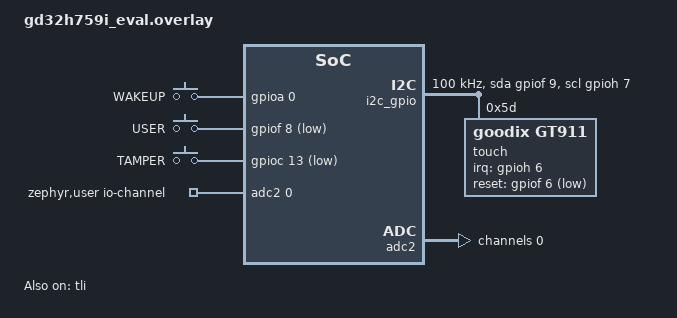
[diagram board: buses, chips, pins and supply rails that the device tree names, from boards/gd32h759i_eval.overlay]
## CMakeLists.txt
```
# Copyright (c) 2026 GigaDevice Semiconductor Inc.
# SPDX-License-Identifier: Apache-2.0

cmake_minimum_required(VERSION 3.20.0)
find_package(Zephyr REQUIRED HINTS $ENV{ZEPHYR_BASE})
project(gd32h759_hmi)

target_sources(app PRIVATE src/main.c)
```

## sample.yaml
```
sample:
  name: GD32H759 HMI
tests:
  sample.display.gd32h759_hmi:
    platform_allow: gd32h759i_eval
    harness: none
    tags:
      - display
      - lvgl
```

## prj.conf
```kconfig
# Copyright (c) 2026 GigaDevice Semiconductor Inc.
# SPDX-License-Identifier: Apache-2.0

CONFIG_GPIO=y
CONFIG_PRINTK=y
CONFIG_ADC=y
CONFIG_EEPROM=y
CONFIG_DISPLAY=y
CONFIG_GD32_TLI_RGB565=y
CONFIG_INPUT=y
CONFIG_INPUT_GPIO_KEYS=n
CONFIG_I2C=y
CONFIG_INPUT_MODE_SYNCHRONOUS=y
CONFIG_LVGL=y
CONFIG_LV_FONT_DEFAULT_MONTSERRAT_14=y
CONFIG_LV_Z_POINTER_INPUT=y
CONFIG_LV_Z_POINTER_INPUT_MSGQ_COUNT=64
CONFIG_LV_Z_MEM_POOL_SIZE=32768
CONFIG_LV_Z_VDB_SIZE=18
CONFIG_MAIN_STACK_SIZE=8192
```

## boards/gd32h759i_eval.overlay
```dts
/*
 * Copyright (c) 2026 GigaDevice Semiconductor Inc.
 *
 * SPDX-License-Identifier: Apache-2.0
 *
 * JP41, JP43-JP59 and JP67 must be set to 1-2 (TLI function), JP42 must be
 * set to 2-3 (USER key).
 */

#include <zephyr/dt-bindings/adc/adc.h>
#include <zephyr/dt-bindings/i2c/i2c.h>

/ {
	chosen {
		zephyr,display = &tli;
	};

	i2c_gpio: i2c-gpio {
		compatible = "gpio-i2c";
		#address-cells = <1>;
		#size-cells = <0>;
		clock-frequency = <I2C_BITRATE_STANDARD>;
		scl-gpios = <&gpioh 7 (GPIO_ACTIVE_HIGH | GPIO_OPEN_DRAIN)>;
		sda-gpios = <&gpiof 9 (GPIO_ACTIVE_HIGH | GPIO_OPEN_DRAIN)>;
		status = "okay";

		touch: gt911@5d {
			compatible = "goodix,gt911";
			reg = <0x5d>;
			irq-gpios = <&gpioh 6 GPIO_ACTIVE_HIGH>;
			reset-gpios = <&gpiof 6 GPIO_ACTIVE_LOW>;
			status = "okay";
		};
	};

	lvgl_pointer {
		compatible = "zephyr,lvgl-pointer-input";
		input = <&touch>;
		display = <&tli>;
	};

	gpio_keys {
		compatible = "gpio-keys";

		/* WAKEUP has an external pull-down */
		key_a: key_a {
			label = "WAKEUP";
			gpios = <&gpioa 0 GPIO_ACTIVE_HIGH>;
		};

		key_b: key_b {
			label = "USER";
			gpios = <&gpiof 8 (GPIO_ACTIVE_LOW | GPIO_PULL_UP)>;
		};

		key_c: key_c {
			label = "TAMPER";
			gpios = <&gpioc 13 (GPIO_ACTIVE_LOW | GPIO_PULL_UP)>;
		};
	};

	zephyr,user {
		/* VR1 potentiometer on PC2_C (ADC2_IN0) */
		io-channels = <&adc2 0>;
	};
};

&pinctrl {
	tli_default: tli_default {
		group1 {
			pinmux = <TLI_R0_PH2>, <TLI_R1_PH3>, <TLI_R2_PH8>,
				 <TLI_R3_PH9>, <TLI_R4_PA5>, <TLI_R5_PH11>,
				 <TLI_R6_PH12>, <TLI_R7_PG6>, <TLI_G0_PB1>,
				 <TLI_G1_PB0>, <TLI_G2_PH13>, <TLI_G3_PH14>,
				 <TLI_G4_PH15>, <TLI_G5_PC1>, <TLI_G6_PC7>,
				 <TLI_G7_PD3>, <TLI_B0_PG14>, <TLI_B1_PG12>,
				 <TLI_B2_PG10>, <TLI_B3_PG11>, <TLI_B4_PC11>,
				 <TLI_B5_PB5>, <TLI_B6_PB8>, <TLI_B7_PB9>,
				 <TLI_PIXCLK_PG7>, <TLI_HSYNC_PE15>, <TLI_VSYNC_PA7>,
				 <TLI_DE_PF10>;
			slew-rate = "max-speed-50mhz";
		};
	};
};

&tli {
	status = "okay";

	pinctrl-0 = <&tli_default>;
	pinctrl-names = "default";

	bl-ctrl-gpios = <&gpiog 13 GPIO_ACTIVE_HIGH>;

	hsync = <41>;
	vsync = <10>;
	hbp = <2>;
	vbp = <2>;
	hfp = <2>;
	vfp = <2>;
	width = <480>;
	height = <272>;
};

/* PC2_C is a dedicated analog pin, no pinmux is needed */
&adc2 {
	channel@0 {
		reg = <0>;
		zephyr,gain = "ADC_GAIN_1";
		zephyr,reference = "ADC_REF_INTERNAL";
		zephyr,acquisition-time = <ADC_ACQ_TIME(ADC_ACQ_TIME_TICKS, 5)>;
		zephyr,resolution = <12>;
		zephyr,vref-mv = <3300>;
	};
};

/* PA5/PA7 are TLI_R4/TLI_VSYNC */
&spi0 {
	status = "disabled";
};

/* PB5 is TLI_B5 */
&spi2 {
	status = "disabled";
};

/* PH6/PH7/PF9 are used by the touch panel, PH8/PH9 are TLI_R2/TLI_R3 */
&spi4 {
	status = "disabled";
};

/* PA5/PA7 are TLI_R4/TLI_VSYNC, PA0 (CS) is the WAKEUP key */
&spi5 {
	status = "disabled";
};

/* PA7/PB0 are TLI_VSYNC/TLI_G1 */
&pwm0 {
	status = "disabled";
};

/* PB5 is TLI_B5 */
&can1 {
	status = "disabled";
};

/* PF6 is the touch panel reset */
&can2 {
	status = "disabled";
};
```

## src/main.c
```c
/*
 * Copyright (c) 2026 GigaDevice Semiconductor Inc.
 *
 * SPDX-License-Identifier: Apache-2.0
 */

#include <zephyr/device.h>
#include <zephyr/drivers/adc.h>
#include <zephyr/drivers/display.h>
#include <zephyr/drivers/eeprom.h>
#include <zephyr/drivers/gpio.h>
#include <zephyr/kernel.h>
#include <zephyr/sys/printk.h>
#include <lvgl.h>
#include <stdio.h>

#define SCREEN_WIDTH     480
#define SCREEN_HEIGHT    272
#define ADC_REFERENCE_MV 3300

/* LED1 (PF10) is the TLI DE signal, only LED2 (PA6) is available */
static const struct gpio_dt_spec leds[] = {
	GPIO_DT_SPEC_GET(DT_NODELABEL(led1), gpios),
};

static const struct gpio_dt_spec keys[] = {
	GPIO_DT_SPEC_GET(DT_NODELABEL(key_a), gpios),
	GPIO_DT_SPEC_GET(DT_NODELABEL(key_b), gpios),
	GPIO_DT_SPEC_GET(DT_NODELABEL(key_c), gpios),
};

static const char *const key_names[] = {"WAKEUP", "USER", "TAMPER"};
static const struct adc_dt_spec potentiometer = ADC_DT_SPEC_GET_BY_IDX(DT_PATH(zephyr_user), 0);
static const struct device *const eeprom = DEVICE_DT_GET(DT_ALIAS(eeprom_0));
static lv_obj_t *led_indicators[ARRAY_SIZE(leds)];
static lv_obj_t *key_labels[ARRAY_SIZE(keys)];
static lv_obj_t *voltage_label;
static lv_obj_t *voltage_bar;
static lv_obj_t *raw_label;
static lv_obj_t *address_label;
static lv_obj_t *value_label;
static lv_obj_t *eeprom_status;
static lv_obj_t *eeprom_dump;
static uint8_t address;
static uint8_t value;
static bool key_state[ARRAY_SIZE(keys)];
static uint8_t key_samples[ARRAY_SIZE(keys)];
static bool led_on;

static lv_obj_t *make_label(lv_obj_t *parent, const char *text, int x, int y)
{
	lv_obj_t *label = lv_label_create(parent);

	lv_label_set_text(label, text);
	lv_obj_set_pos(label, x, y);
	return label;
}

enum eeprom_action {
	ADDR_DOWN,
	ADDR_UP,
	VALUE_DOWN,
	VALUE_UP,
	PROBE,
	READ_BYTE,
	WRITE_BYTE,
	READ_EIGHT,
};

static void eeprom_action_cb(lv_event_t *event)
{
	enum eeprom_action action = (enum eeprom_action)(uintptr_t)lv_event_get_user_data(event);
	uint8_t data[8];
	char text[32];
	int ret = 0;

	switch (action) {
	case ADDR_DOWN:
		address--;
		break;
	case ADDR_UP:
		address++;
		break;
	case VALUE_DOWN:
		value--;
		break;
	case VALUE_UP:
		value++;
		break;
	case PROBE:
	case READ_BYTE:
		ret = device_is_ready(eeprom) ? eeprom_read(eeprom, address, data, 1) : -ENODEV;
		if (ret == 0 && action == READ_BYTE) {
			lv_label_set_text_fmt(eeprom_dump, "Read: 0x%02X", data[0]);
		}
		break;
	case WRITE_BYTE:
		ret = device_is_ready(eeprom) ? eeprom_write(eeprom, address, &value, 1) : -ENODEV;
		break;
	case READ_EIGHT: {
		size_t size = device_is_ready(eeprom) ? eeprom_get_size(eeprom) : 0;
		size_t len = address < size ? MIN(sizeof(data), size - address) : 0;
		int pos = 0;

		ret = len > 0 ? eeprom_read(eeprom, address, data, len) : -ENODEV;
		if (ret == 0) {
			for (size_t index = 0; index < len; index++) {
				pos += snprintf(&text[pos], sizeof(text) - pos, "%02X ",
						data[index]);
			}
			lv_label_set_text(eeprom_dump, text);
		}
		break;
	}
	}
	lv_label_set_text_fmt(address_label, "0x%02X", address);
	lv_label_set_text_fmt(value_label, "0x%02X", value);
	if (action >= PROBE) {
		if (ret == 0) {
			lv_label_set_text(eeprom_status, "Status: OK");
		} else {
			lv_label_set_text_fmt(eeprom_status, "Status: error %d", ret);
		}
	}
}

static void make_button(lv_obj_t *parent, const char *text, int x, int y, int width,
			enum eeprom_action action)
{
	lv_obj_t *button = lv_button_create(parent);
	lv_obj_t *label = lv_label_create(button);

	lv_obj_set_pos(button, x, y);
	lv_obj_set_size(button, width, 36);
	lv_label_set_text(label, text);
	lv_obj_center(label);
	lv_obj_add_event_cb(button, eeprom_action_cb, LV_EVENT_CLICKED, (void *)(uintptr_t)action);
}

static void create_ui(void)
{
	lv_obj_t *tabs = lv_tabview_create(lv_screen_active());
	lv_obj_t *welcome;
	lv_obj_t *gpio_page;
	lv_obj_t *voltage_page;
	lv_obj_t *eeprom_page;

	lv_tabview_set_tab_bar_size(tabs, 40);
	welcome = lv_tabview_add_tab(tabs, "Welcome");
	gpio_page = lv_tabview_add_tab(tabs, "GPIO");
	voltage_page = lv_tabview_add_tab(tabs, "Voltage");
	eeprom_page = lv_tabview_add_tab(tabs, "EEPROM");

	make_label(welcome, "GD32H759I-EVAL", 4, 8);
	make_label(welcome, "Zephyr + LVGL", 4, 36);
	make_label(welcome, "Display: TLI RGB 480x272", 4, 78);
	make_label(welcome, "Touch: GT911 capacitive", 4, 106);
	make_label(welcome, "MCU: GD32H759IMK6 (Cortex-M7)", 4, 134);

	make_label(gpio_page, "LED2  PA6", 4, 8);
	for (size_t index = 0; index < ARRAY_SIZE(leds); index++) {
		led_indicators[index] = lv_led_create(gpio_page);
		lv_obj_set_size(led_indicators[index], 28, 28);
		lv_obj_set_pos(led_indicators[index], 20 + index * 64, 40);
		lv_led_set_color(led_indicators[index], lv_color_hex(0x00a050));
		lv_led_off(led_indicators[index]);
	}
	make_label(gpio_page, "Keys  PA0 / PF8 / PC13", 220, 8);
	for (size_t index = 0; index < ARRAY_SIZE(keys); index++) {
		key_labels[index] = make_label(gpio_page, key_names[index], 220, 40 + index * 32);
	}

	make_label(voltage_page, "Voltage Monitor", 4, 8);
	make_label(voltage_page, "Potentiometer VR1 (PC2_C, ADC2_IN0)", 4, 44);
	voltage_label = make_label(voltage_page, "-- V", 4, 76);
	voltage_bar = lv_bar_create(voltage_page);
	lv_obj_set_pos(voltage_bar, 4, 108);
	lv_obj_set_size(voltage_bar, 400, 16);
	lv_bar_set_range(voltage_bar, 0, ADC_REFERENCE_MV);
	raw_label = make_label(voltage_page, "Raw: --", 4, 140);

	make_label(eeprom_page, "AT24C02  I2C1  0x50", 4, 2);
	eeprom_status = make_label(eeprom_page, "Status: idle", 240, 2);
	make_button(eeprom_page, "Probe", 4, 30, 90, PROBE);
	make_label(eeprom_page, "Addr", 4, 86);
	make_button(eeprom_page, "-", 64, 78, 40, ADDR_DOWN);
	address_label = make_label(eeprom_page, "0x00", 118, 86);
	make_button(eeprom_page, "+", 174, 78, 40, ADDR_UP);
	make_label(eeprom_page, "Value", 240, 86);
	make_button(eeprom_page, "-", 300, 78, 40, VALUE_DOWN);
	value_label = make_label(eeprom_page, "0x00", 354, 86);
	make_button(eeprom_page, "+", 410, 78, 40, VALUE_UP);
	make_button(eeprom_page, "Read", 4, 126, 90, READ_BYTE);
	make_button(eeprom_page, "Write", 104, 126, 90, WRITE_BYTE);
	make_button(eeprom_page, "Read 8", 204, 126, 100, READ_EIGHT);
	eeprom_dump = make_label(eeprom_page, "--", 4, 176);
}

static void update_inputs(void)
{
	for (size_t index = 0; index < ARRAY_SIZE(keys); index++) {
		int pressed = gpio_pin_get_dt(&keys[index]);

		if (pressed < 0) {
			continue;
		}
		if ((bool)pressed == key_state[index]) {
			key_samples[index] = 0;
		} else if (++key_samples[index] >= 3) {
			key_state[index] = pressed;
			key_samples[index] = 0;
			printk("%s %s\n", key_names[index], pressed ? "pressed" : "released");
			lv_label_set_text_fmt(key_labels[index], "%s: %s", key_names[index],
					      pressed ? "PRESSED" : "released");
		}
	}
}

static void update_voltage(void)
{
	uint16_t raw;
	struct adc_sequence sequence = {
		.buffer = &raw,
		.buffer_size = sizeof(raw),
	};
	int ret = adc_sequence_init_dt(&potentiometer, &sequence);

	if (ret == 0) {
		ret = adc_read_dt(&potentiometer, &sequence);
	}
	if (ret < 0) {
		lv_label_set_text_fmt(voltage_label, "ADC error %d", ret);
		return;
	}

	int millivolts = raw * ADC_REFERENCE_MV / 4095;

	lv_label_set_text_fmt(voltage_label, "%d.%03d V", millivolts / 1000, millivolts % 1000);
	lv_label_set_text_fmt(raw_label, "Raw: %u / 4095", raw);
	lv_bar_set_value(voltage_bar, millivolts, LV_ANIM_OFF);
}

static int show_white(const struct device *display)
{
	uint16_t row[SCREEN_WIDTH];
	struct display_buffer_descriptor descriptor = {
		.buf_size = sizeof(row),
		.width = SCREEN_WIDTH,
		.height = 1,
		.pitch = SCREEN_WIDTH,
	};

	for (size_t index = 0; index < ARRAY_SIZE(row); index++) {
		row[index] = 0xffff;
	}
	for (uint16_t line = 0; line < SCREEN_HEIGHT; line++) {
		int ret = display_write(display, 0, line, &descriptor, row);

		if (ret < 0) {
			return ret;
		}
	}
	return display_blanking_off(display);
}

int main(void)
{
	const struct device *display = DEVICE_DT_GET(DT_CHOSEN(zephyr_display));
	int64_t next_led = 0;
	int64_t next_voltage = 0;

	printk("GD32H759 HMI starting\n");
	for (size_t index = 0; index < ARRAY_SIZE(leds); index++) {
		if (!gpio_is_ready_dt(&leds[index]) ||
		    gpio_pin_configure_dt(&leds[index], GPIO_OUTPUT_INACTIVE) < 0) {
			printk("LED %u initialization failed\n", (unsigned int)index);
			return 0;
		}
	}
	for (size_t index = 0; index < ARRAY_SIZE(keys); index++) {
		if (!gpio_is_ready_dt(&keys[index]) ||
		    gpio_pin_configure_dt(&keys[index], GPIO_INPUT) < 0) {
			printk("Key %u initialization failed\n", (unsigned int)index);
			return 0;
		}
	}
	if (!adc_is_ready_dt(&potentiometer) || adc_channel_setup_dt(&potentiometer) < 0) {
		printk("ADC initialization failed\n");
		return 0;
	}
	if (!device_is_ready(display) || show_white(display) < 0) {
		printk("Display initialization failed\n");
		return 0;
	}
	k_msleep(300);
	create_ui();
	printk("HMI ready\n");
	while (true) {
		int64_t now = k_uptime_get();

		if (now >= next_led) {
			led_on = !led_on;
			for (size_t index = 0; index < ARRAY_SIZE(leds); index++) {
				gpio_pin_set_dt(&leds[index], led_on);
				if (led_on) {
					lv_led_on(led_indicators[index]);
				} else {
					lv_led_off(led_indicators[index]);
				}
			}
			next_led = now + 300;
		}
		if (now >= next_voltage) {
			update_voltage();
			next_voltage = now + 500;
		}
		update_inputs();
		lv_timer_handler();
		k_msleep(10);
	}
	return 0;
}
```
